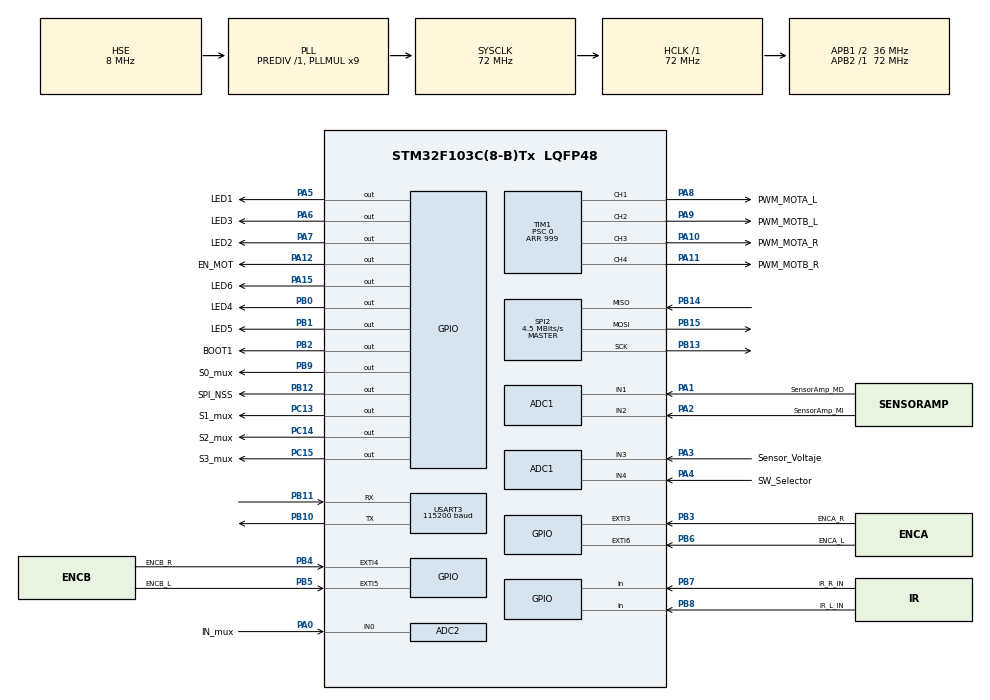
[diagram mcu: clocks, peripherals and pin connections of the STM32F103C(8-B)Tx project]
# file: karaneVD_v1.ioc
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ADC1.Channel-0\#ChannelRegularConversion=ADC_CHANNEL_1
ADC1.Channel-1\#ChannelRegularConversion=ADC_CHANNEL_2
ADC1.Channel-2\#ChannelRegularConversion=ADC_CHANNEL_3
ADC1.Channel-3\#ChannelRegularConversion=ADC_CHANNEL_4
ADC1.NbrOfConversion=4
ADC1.NbrOfConversionFlag=1
ADC1.Rank-0\#ChannelRegularConversion=1
ADC1.Rank-1\#ChannelRegularConversion=2
ADC1.Rank-2\#ChannelRegularConversion=3
ADC1.Rank-3\#ChannelRegularConversion=4
ADC1.SamplingTime-0\#ChannelRegularConversion=ADC_SAMPLETIME_13CYCLES_5
ADC1.SamplingTime-1\#ChannelRegularConversion=ADC_SAMPLETIME_13CYCLES_5
ADC1.SamplingTime-2\#ChannelRegularConversion=ADC_SAMPLETIME_13CYCLES_5
ADC1.SamplingTime-3\#ChannelRegularConversion=ADC_SAMPLETIME_13CYCLES_5
ADC1.master=1
ADC2.Channel-5\#ChannelRegularConversion=ADC_CHANNEL_0
ADC2.ContinuousConvMode=DISABLE
ADC2.NbrOfConversionFlag=1
ADC2.Rank-5\#ChannelRegularConversion=1
ADC2.SamplingTime-5\#ChannelRegularConversion=ADC_SAMPLETIME_13CYCLES_5
Dma.ADC1.0.Direction=DMA_PERIPH_TO_MEMORY
Dma.ADC1.0.Instance=DMA1_Channel1
Dma.ADC1.0.MemDataAlignment=DMA_MDATAALIGN_WORD
Dma.ADC1.0.MemInc=DMA_MINC_ENABLE
Dma.ADC1.0.Mode=DMA_CIRCULAR
Dma.ADC1.0.PeriphDataAlignment=DMA_PDATAALIGN_WORD
Dma.ADC1.0.PeriphInc=DMA_PINC_DISABLE
Dma.ADC1.0.Priority=DMA_PRIORITY_LOW
Dma.Request0=ADC1
Mcu.Family=STM32F1
Mcu.Name=STM32F103C(8-B)Tx
Mcu.Package=LQFP48
NVIC.ADC1_2_IRQn=true\:0\:0\:false\:false\:true\:true\:true\:true
NVIC.DMA1_Channel1_IRQn=true\:0\:0\:false\:false\:true\:false\:true\:true
NVIC.EXTI3_IRQn=true\:0\:0\:false\:false\:true\:true\:true\:true
NVIC.EXTI4_IRQn=true\:0\:0\:false\:false\:true\:true\:true\:true
NVIC.EXTI9_5_IRQn=true\:0\:0\:false\:false\:true\:true\:true\:true
NVIC.PriorityGroup=NVIC_PRIORITYGROUP_4
PA0-WKUP.GPIO_Label=IN_mux
PA0-WKUP.Signal=ADCx_IN0
PA1.GPIO_Label=SensorAmp_MD
PA1.Signal=ADCx_IN1
PA10.GPIO_Label=PWM_MOTA_R
PA10.Signal=S_TIM1_CH3
PA11.GPIO_Label=PWM_MOTB_R
PA11.Signal=S_TIM1_CH4
PA12.GPIO_Label=EN_MOT
PA12.Signal=GPIO_Output
PA13.Mode=Serial_Wire
PA13.Signal=SYS_JTMS-SWDIO
PA14.Mode=Serial_Wire
PA14.Signal=SYS_JTCK-SWCLK
PA15.GPIO_Label=LED6
PA15.PinState=GPIO_PIN_SET
PA15.Signal=GPIO_Output
PA2.GPIO_Label=SensorAmp_MI
PA2.Signal=ADCx_IN2
PA3.GPIO_Label=Sensor_Voltaje
PA3.Signal=ADCx_IN3
PA4.GPIO_Label=SW_Selector
PA4.Signal=ADCx_IN4
PA5.GPIO_Label=LED1
PA5.PinState=GPIO_PIN_SET
PA5.Signal=GPIO_Output
PA6.GPIO_Label=LED3
PA6.PinState=GPIO_PIN_SET
PA6.Signal=GPIO_Output
PA7.GPIO_Label=LED2
PA7.PinState=GPIO_PIN_SET
PA7.Signal=GPIO_Output
PA8.GPIO_Label=PWM_MOTA_L
PA8.Signal=S_TIM1_CH1
PA9.GPIO_Label=PWM_MOTB_L
PA9.Signal=S_TIM1_CH2
PB0.GPIO_Label=LED4
PB0.PinState=GPIO_PIN_SET
PB0.Signal=GPIO_Output
PB1.GPIO_Label=LED5
PB1.PinState=GPIO_PIN_SET
PB1.Signal=GPIO_Output
PB10.Mode=Asynchronous
PB10.Signal=USART3_TX
PB11.Mode=Asynchronous
PB11.Signal=USART3_RX
PB12.GPIO_Label=SPI_NSS
PB12.PinState=GPIO_PIN_SET
PB12.Signal=GPIO_Output
PB13.Mode=Full_Duplex_Master
PB13.Signal=SPI2_SCK
PB14.Mode=Full_Duplex_Master
PB14.Signal=SPI2_MISO
PB15.Mode=Full_Duplex_Master
PB15.Signal=SPI2_MOSI
PB2.GPIO_Label=BOOT1
PB2.Signal=GPIO_Output
PB3.GPIO_Label=ENCA_R
PB3.GPIO_ModeDefaultEXTI=GPIO_MODE_IT_RISING_FALLING
PB3.Signal=GPXTI3
PB4.GPIO_Label=ENCB_R
PB4.GPIO_ModeDefaultEXTI=GPIO_MODE_IT_RISING_FALLING
PB4.Signal=GPXTI4
PB5.GPIO_Label=ENCB_L
PB5.GPIO_ModeDefaultEXTI=GPIO_MODE_IT_RISING_FALLING
PB5.Signal=GPXTI5
PB6.GPIO_Label=ENCA_L
PB6.GPIO_ModeDefaultEXTI=GPIO_MODE_IT_RISING_FALLING
PB6.Signal=GPXTI6
PB7.GPIO_Label=IR_R_IN
PB7.Signal=GPIO_Input
PB8.GPIO_Label=IR_L_IN
PB8.Signal=GPIO_Input
PB9.GPIO_Label=S0_mux
PB9.Signal=GPIO_Output
PC13-TAMPER-RTC.GPIO_Label=S1_mux
PC13-TAMPER-RTC.Signal=GPIO_Output
PC14-OSC32_IN.GPIO_Label=S2_mux
PC14-OSC32_IN.Signal=GPIO_Output
PC15-OSC32_OUT.GPIO_Label=S3_mux
PC15-OSC32_OUT.Signal=GPIO_Output
PD0-OSC_IN.Mode=HSE-External-Oscillator
PD0-OSC_IN.Signal=RCC_OSC_IN
PD1-OSC_OUT.Mode=HSE-External-Oscillator
PD1-OSC_OUT.Signal=RCC_OSC_OUT
ProjectManager.HeapSize=0x200
ProjectManager.StackSize=0x400
ProjectManager.TargetToolchain=STM32CubeIDE
RCC.ADCPresc=RCC_ADCPCLK2_DIV6
RCC.AHBFreq_Value=72000000
RCC.APB1CLKDivider=RCC_HCLK_DIV2
RCC.APB1Freq_Value=36000000
RCC.APB1TimFreq_Value=72000000
RCC.APB2Freq_Value=72000000
RCC.APB2TimFreq_Value=72000000
RCC.HCLKFreq_Value=72000000
RCC.PLLMUL=RCC_PLL_MUL9
RCC.PLLSourceVirtual=RCC_PLLSOURCE_HSE
RCC.SYSCLKFreq_VALUE=72000000
RCC.SYSCLKSource=RCC_SYSCLKSOURCE_PLLCLK
RCC.USBFreq_Value=72000000
SH.ADCx_IN0.0=ADC2_IN0,IN0
SH.ADCx_IN1.0=ADC1_IN1,IN1
SH.ADCx_IN2.0=ADC1_IN2,IN2
SH.ADCx_IN3.0=ADC1_IN3,IN3
SH.ADCx_IN4.0=ADC1_IN4,IN4
SH.S_TIM1_CH1.0=TIM1_CH1,PWM Generation1 CH1
SH.S_TIM1_CH2.0=TIM1_CH2,PWM Generation2 CH2
SH.S_TIM1_CH3.0=TIM1_CH3,PWM Generation3 CH3
SH.S_TIM1_CH4.0=TIM1_CH4,PWM Generation4 CH4
SPI2.BaudRatePrescaler=SPI_BAUDRATEPRESCALER_8
SPI2.CalculateBaudRate=4.5 MBits/s
SPI2.Direction=SPI_DIRECTION_2LINES
SPI2.Mode=SPI_MODE_MASTER
SPI2.VirtualType=VM_MASTER
TIM1.Channel-PWM\ Generation1\ CH1=TIM_CHANNEL_1
TIM1.Channel-PWM\ Generation2\ CH2=TIM_CHANNEL_2
TIM1.Channel-PWM\ Generation3\ CH3=TIM_CHANNEL_3
TIM1.Channel-PWM\ Generation4\ CH4=TIM_CHANNEL_4
TIM1.Period=999
TIM1.Prescaler=0
USART3.BaudRate=115200
USART3.VirtualMode=VM_ASYNC
VP_TIM1_VS_ClockSourceINT.Mode=Internal
board=custom

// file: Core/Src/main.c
/* USER CODE BEGIN Header */
/**
  ******************************************************************************
  * @file           : main.c
  * @brief          : Main program body
  ******************************************************************************
  * @attention
  *
  * Copyright (c) 2025 STMicroelectronics.
  * All rights reserved.
  *
  * This software is licensed under terms that can be found in the LICENSE file
  * in the root directory of this software component.
  * If no LICENSE file comes with this software, it is provided AS-IS.
  *
  ******************************************************************************
  */
/* USER CODE END Header */
#include "main.h"
#include "adc.h"
#include "dma.h"
#include "spi.h"
#include "tim.h"
#include "usart.h"
#include "gpio.h"

/* USER CODE BEGIN Includes */
#include <string.h>
#include <stdio.h>
#include <math.h>
#include <stdbool.h>
#include "LIB_MPU6500_SPI.h"
#include "LIB_DEBUG.h"
#include "LIB_FUNCIONES.h"
#include "LIB_MENU.h"

#define	Delay_BTN	200		// Tiempo para verificar los ADC por DMA
#define Delay_LED	50		// Tiempo para apagar LEDs
/* USER CODE END Includes */

/* USER CODE BEGIN PD */

odometria_init_t odometria={0.0,0.0,0.0,0.0,0,0};
MPU6500_Init_Values_t 	MPU6500_Datos; //Iniciamos donde se guardaran todos los datos a leer
//MPU6500_float_t	MPU6500_Values_float;
MPU6500_status_e	MPU6500_Status;

/* Variables para los ADC */
uint32_t ADC_DMA[5];	//datos DMA
volatile uint16_t ADC_buffer[4]; //datos ya obtenidos y convertidos a 16bits
uint16_t ADC_Sensor=0;
uint8_t ValorBTN=0;

/* Variables para los encoders*/
const int8_t estadoTabla[16]={0,-1,1,0,1,0,0,-1,-1,0,0,1,0,1,-1,0}; //valor encoders de tabla de verdad
uint8_t estadoAnterior_L=0;
uint8_t estadoAnterior_R=0;

/* Variables para definir tiempo de espera */
uint32_t tiempoActual=0;
uint32_t tiempoAnterior=0;
uint32_t tiempoAnterior_LED=0;

bool	timeValid=false;

/* USER CODE END PD */

void SystemClock_Config(void);

/* USER CODE BEGIN 0 */

void HAL_ADC_ConvCpltCallback(ADC_HandleTypeDef* hadc)
{
	if(hadc->Instance==ADC1)
	{
		ADC_buffer[0]=(uint16_t)ADC_DMA[0];
		ADC_buffer[1]=(uint16_t)ADC_DMA[1];
		ADC_buffer[2]=(uint16_t)ADC_DMA[2];
		ADC_buffer[3]=(uint16_t)ADC_DMA[3];
		/*filtramos el boton pulsado en un rango*/
		if(ADC_buffer[3]>3900 && ADC_buffer[3]<4100)
		{
			ValorBTN=BTN_DERECHA;
		}
		else if(ADC_buffer[3]>2100 && ADC_buffer[3]<2200)
				{
					ValorBTN=BTN_IZQUIERDA;
				}
		else if(ADC_buffer[3]>2600 && ADC_buffer[3]<2800)
				{
					ValorBTN=BTN_ACEPTAR;
				}
	}
}
void HAL_GPIO_EXTI_Callback(uint16_t GPIO_Pin)
{

	if(GPIO_Pin==ENCA_L_Pin||GPIO_Pin==ENCB_L_Pin)
		{
		uint8_t bitStatusL=((HAL_GPIO_ReadPin(ENCA_L_GPIO_Port, ENCA_L_Pin))?2:0) | ((HAL_GPIO_ReadPin(ENCB_L_GPIO_Port, ENCB_L_Pin))?1:0);
		odometria.ticks_L+=estadoTabla[((estadoAnterior_L<<2)|bitStatusL)];
		estadoAnterior_L=bitStatusL;
		}
	if(GPIO_Pin==ENCA_R_Pin||GPIO_Pin==ENCB_R_Pin)
		{
		uint8_t bitStatusR=((HAL_GPIO_ReadPin(ENCA_R_GPIO_Port, ENCA_R_Pin))?2:0) | ((HAL_GPIO_ReadPin(ENCB_R_GPIO_Port, ENCB_R_Pin))?1:0);
		odometria.ticks_R+=(-estadoTabla[((estadoAnterior_R<<2)|bitStatusR)]);
		estadoAnterior_R=bitStatusR;
		}
}
void leer_ADC(void)
{
	HAL_ADC_Start(&hadc2);
	HAL_ADC_PollForConversion(&hadc2, HAL_MAX_DELAY);
	ADC_Sensor=HAL_ADC_GetValue(&hadc2);
	HAL_ADC_Stop(&hadc2);
}
/* USER CODE END 0 */

int main(void)
{

  /* MCU Configuration--------------------------------------------------------*/

  /* Reset of all peripherals, Initializes the Flash interface and the Systick. */
  HAL_Init();

  /* Configure the system clock */
  SystemClock_Config();

  /* Initialize all configured peripherals */
  MX_GPIO_Init();
  MX_DMA_Init();
  MX_ADC1_Init();
  MX_SPI2_Init();
  MX_USART3_UART_Init();
  MX_TIM1_Init();
  MX_ADC2_Init();
  /* USER CODE BEGIN 2 */
  HAL_ADC_Start_DMA(&hadc1, &ADC_DMA[0], 4);
  //HAL_ADC_Start_IT(&hadc1);/// activa la interrupcion del dma para leer los datos
  HAL_TIM_PWM_Start(&htim1, TIM_CHANNEL_1);
  HAL_TIM_PWM_Start(&htim1, TIM_CHANNEL_2);
  HAL_TIM_PWM_Start(&htim1, TIM_CHANNEL_3);
  HAL_TIM_PWM_Start(&htim1, TIM_CHANNEL_4);
  __HAL_TIM_SetCompare(&htim1,TIM_CHANNEL_1,0);
  __HAL_TIM_SetCompare(&htim1,TIM_CHANNEL_2,0);
  __HAL_TIM_SetCompare(&htim1,TIM_CHANNEL_3,0);
  __HAL_TIM_SetCompare(&htim1,TIM_CHANNEL_4,0);

  MPU6500_Status=MPU6500_Init(&MPU6500_Datos,10,DPS1000,G4);
  if (MPU6500_Status==MPU6500_fail) {
  	for (;;) {
  		DEBUG_Imprimir("Fallo al iniciar MPU\r\n");
  		Menu_LED(Aviso_fallo);
  		}
  }
  DEBUG_Imprimir("Exito al iniciar MPU\r\n");
  Menu_LED(Aviso_ok);
  HAL_Delay(2000);

  /* USER CODE END 2 */

  /* Infinite loop */
  while (1)
  {

    /* USER CODE BEGIN 3 */

	  /* Esta parte simplemente cada X tiempo verificara el DMA para ver el estado del BTN*/
	  tiempoActual=HAL_GetTick();
	  if ((tiempoActual-tiempoAnterior)>Delay_BTN) {
		tiempoAnterior=tiempoActual;
		DEBUG_ADC(ADC_Sensor, ADC_buffer[0], ADC_buffer[1], ADC_buffer[2], ADC_buffer[3]);
		HAL_ADC_Start_IT(&hadc1);// iniciamos conversion ADC
	  }

	  /*
	   * Obtenido el valor del BTN y siempre distinto a 0
	   * si entra a la funcion se genera un delay de tiempo para apagar los leds
	   * */
	  if(ValorBTN!=0)
	  {
		  Menu_LED(Apagar_LED);
		  timeValid=Menu_Navegacion(ValorBTN);
		  ValorBTN=0;	// Se reetablece valor para evitar que vuelva a entrar
		  tiempoAnterior_LED=HAL_GetTick();
	  }
	  if(timeValid==true)
	  {
		  tiempoActual=HAL_GetTick();
		  if ((tiempoActual-tiempoAnterior_LED)>Delay_LED) {
		  		timeValid=false;
		  		Menu_LED(estadoLED);
		  		}
	  }
	  /* Aca se ejecutara el codigo si se dio aceptar y dependiendo el menu donde este*/
	  if(Menu_Ejecucion()==true)
	  {
		  switch (Menu_Global) {
				case Opcion_Iniciar_CodigoA:
					break;
				case Opcion_Calibracion_Sensores:
					break;
				case Opcion_Calibracion_X:
					break;
				case Opcion_Configuracion_PID_1:
					break;
				case Opcion_Configuracion_PID_2:
					break;
				case Opcion_Guardar:
					break;
				default:
					break;
		}
	  }
  }
  /* USER CODE END 3 */
}

void SystemClock_Config(void)
{
  RCC_OscInitTypeDef RCC_OscInitStruct = {0};
  RCC_ClkInitTypeDef RCC_ClkInitStruct = {0};
  RCC_PeriphCLKInitTypeDef PeriphClkInit = {0};

  /** Initializes the RCC Oscillators according to the specified parameters
  * in the RCC_OscInitTypeDef structure.
  */
  RCC_OscInitStruct.OscillatorType = RCC_OSCILLATORTYPE_HSE;
  RCC_OscInitStruct.HSEState = RCC_HSE_ON;
  RCC_OscInitStruct.HSEPredivValue = RCC_HSE_PREDIV_DIV1;
  RCC_OscInitStruct.HSIState = RCC_HSI_ON;
  RCC_OscInitStruct.PLL.PLLState = RCC_PLL_ON;
  RCC_OscInitStruct.PLL.PLLSource = RCC_PLLSOURCE_HSE;
  RCC_OscInitStruct.PLL.PLLMUL = RCC_PLL_MUL9;
  if (HAL_RCC_OscConfig(&RCC_OscInitStruct) != HAL_OK)
  {
    Error_Handler();
  }

  /** Initializes the CPU, AHB and APB buses clocks
  */
  RCC_ClkInitStruct.ClockType = RCC_CLOCKTYPE_HCLK|RCC_CLOCKTYPE_SYSCLK
                              |RCC_CLOCKTYPE_PCLK1|RCC_CLOCKTYPE_PCLK2;
  RCC_ClkInitStruct.SYSCLKSource = RCC_SYSCLKSOURCE_PLLCLK;
  RCC_ClkInitStruct.AHBCLKDivider = RCC_SYSCLK_DIV1;
  RCC_ClkInitStruct.APB1CLKDivider = RCC_HCLK_DIV2;
  RCC_ClkInitStruct.APB2CLKDivider = RCC_HCLK_DIV1;

  if (HAL_RCC_ClockConfig(&RCC_ClkInitStruct, FLASH_LATENCY_2) != HAL_OK)
  {
    Error_Handler();
  }
  PeriphClkInit.PeriphClockSelection = RCC_PERIPHCLK_ADC;
  PeriphClkInit.AdcClockSelection = RCC_ADCPCLK2_DIV6;
  if (HAL_RCCEx_PeriphCLKConfig(&PeriphClkInit) != HAL_OK)
  {
    Error_Handler();
  }
}

void Error_Handler(void)
{
  __disable_irq();
  while (1)
  {
  }
}
